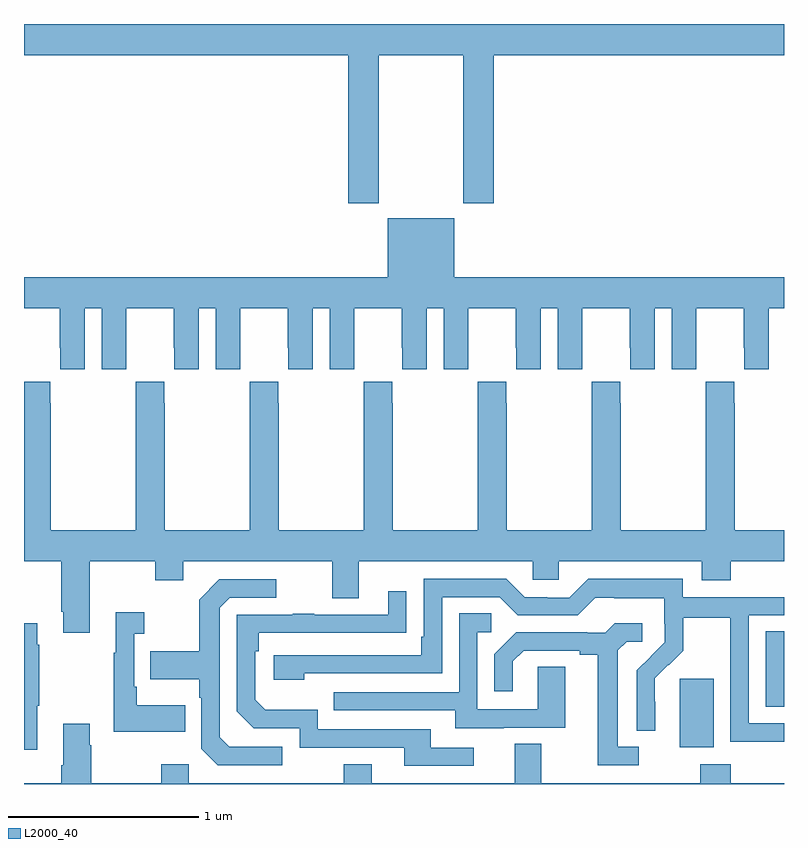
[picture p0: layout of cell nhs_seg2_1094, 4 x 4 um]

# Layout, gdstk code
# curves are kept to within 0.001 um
import gdstk
lib = gdstk.Library(unit=1e-6, precision=1e-09)
def R(c, l, rs):  # rectangles x0, y0, x1, y1
    for r in rs: c.add(gdstk.rectangle(r[:2], r[2:], *l))
def P(c, l, *ps):  # polygons
    for p in ps: c.add(gdstk.Polygon(p, *l))
L2000_40 = (2000, 40)

nhs_seg2_1094 = lib.new_cell('nhs_seg2_1094')
R(nhs_seg2_1094, L2000_40, [(170.45,643.994,170.629,644.355), (170.903,644.206,171,644.603)])
P(nhs_seg2_1094, L2000_40, [(168.867,647.636),(169.312,647.636),(169.312,646.857),(169.472,646.857),(169.472,647.636),(171,647.636),(171,647.8),(167,647.8),(167,647.636),(168.707,647.636),(168.707,646.857),(168.867,646.857)],
  [(167,646.304),(167.189,646.304),(167.189,646.096),(167.19,646.096),(167.19,645.984),(167.32,645.984),(167.32,646.304),(167.408,646.304),(167.408,645.984),(167.538,645.984),(167.538,646.096),(167.539,646.096),(167.539,646.304),(167.789,646.304),(167.789,646.096),(167.79,646.096),(167.79,645.984),(167.92,645.984),(167.92,646.304),(168.008,646.304),(168.008,645.984),(168.138,645.984),(168.138,646.096),(168.139,646.096),(168.139,646.304),(168.389,646.304),(168.389,646.096),(168.39,646.096),(168.39,645.984),(168.52,645.984),(168.52,646.304),(168.608,646.304),(168.608,645.984),(168.738,645.984),(168.738,646.096),(168.739,646.096),(168.739,646.304),(168.989,646.304),(168.989,646.096),(168.99,646.096),(168.99,645.984),(169.12,645.984),(169.12,646.304),(169.208,646.304),(169.208,645.984),(169.338,645.984),(169.338,646.096),(169.339,646.096),(169.339,646.304),(169.589,646.304),(169.589,646.096),(169.59,646.096),(169.59,645.984),(169.72,645.984),(169.72,646.304),(169.808,646.304),(169.808,645.984),(169.938,645.984),(169.938,646.096),(169.939,646.096),(169.939,646.304),(170.189,646.304),(170.189,646.096),(170.19,646.096),(170.19,645.984),(170.32,645.984),(170.32,646.304),(170.408,646.304),(170.408,645.984),(170.538,645.984),(170.538,646.096),(170.539,646.096),(170.539,646.304),(170.789,646.304),(170.789,646.096),(170.79,646.096),(170.79,645.984),(170.92,645.984),(170.92,646.304),(171,646.304),(171,646.468),(169.264,646.468),(169.264,646.777),(168.914,646.777),(168.914,646.468),(167,646.468)],
  [(170.739,645.803),(170.739,645.916),(170.589,645.916),(170.589,645.803),(170.587,645.803),(170.587,645.136),(170.142,645.136),(170.142,645.803),(170.139,645.803),(170.139,645.916),(169.989,645.916),(169.989,645.803),(169.987,645.803),(169.987,645.136),(169.542,645.136),(169.542,645.803),(169.539,645.803),(169.539,645.916),(169.389,645.916),(169.389,645.803),(169.387,645.803),(169.387,645.136),(168.942,645.136),(168.942,645.803),(168.939,645.803),(168.939,645.916),(168.789,645.916),(168.789,645.803),(168.787,645.803),(168.787,645.136),(168.342,645.136),(168.342,645.803),(168.339,645.803),(168.339,645.916),(168.189,645.916),(168.189,645.803),(168.187,645.803),(168.187,645.136),(167.742,645.136),(167.742,645.803),(167.739,645.803),(167.739,645.916),(167.589,645.916),(167.589,645.803),(167.587,645.803),(167.587,645.136),(167.142,645.136),(167.142,645.803),(167.139,645.803),(167.139,645.916),(167,645.916),(167,644.972),(167.195,644.972),(167.195,644.707),(167.207,644.707),(167.207,644.595),(167.347,644.595),(167.347,644.972),(167.692,644.972),(167.692,644.873),(167.839,644.873),(167.839,644.972),(168.623,644.972),(168.623,644.778),(168.763,644.778),(168.763,644.972),(169.677,644.972),(169.677,644.874),(169.815,644.874),(169.815,644.972),(170.567,644.972),(170.567,644.873),(170.72,644.873),(170.72,644.972),(171,644.972),(171,645.136),(170.742,645.136),(170.742,645.803)],
  [(171,644.121),(170.814,644.121),(170.814,644.688),(171,644.688),(171,644.784),(170.466,644.784),(170.466,644.881),(169.969,644.881),(169.869,644.781),(169.754,644.781),(169.754,644.784),(169.635,644.784),(169.539,644.88),(169.104,644.88),(169.104,644.575),(169.091,644.575),(169.091,644.478),(168.315,644.478),(168.315,644.348),(168.476,644.348),(168.476,644.382),(169.2,644.382),(169.2,644.784),(169.503,644.784),(169.599,644.688),(169.914,644.688),(170.007,644.781),(170.107,644.781),(170.107,644.777),(170.37,644.777),(170.37,644.643),(170.372,644.643),(170.372,644.546),(170.226,644.398),(170.226,644.08),(170.322,644.08),(170.321,644.357),(170.391,644.427),(170.394,644.424),(170.471,644.501),(170.471,644.676),(170.716,644.676),(170.716,644.452),(170.718,644.452),(170.718,644.023),(171,644.023)],
  [(168.358,643.995),(168.081,643.995),(168.03,644.046),(168.03,644.727),(168.084,644.781),(168.328,644.781),(168.328,644.877),(168.027,644.877),(167.922,644.771),(167.922,644.499),(167.665,644.499),(167.665,644.351),(167.922,644.351),(167.922,644.255),(167.934,644.255),(167.934,643.986),(168.021,643.899),(168.358,643.899)],
  [(169.366,643.992),(169.141,643.992),(169.141,644.088),(168.546,644.088),(168.546,644.191),(168.269,644.191),(168.216,644.244),(168.216,644.498),(168.236,644.498),(168.236,644.595),(169.013,644.596),(169.013,644.815),(168.917,644.815),(168.917,644.691),(168.527,644.691),(168.527,644.696),(168.415,644.696),(168.415,644.691),(168.12,644.691),(168.12,644.184),(168.21,644.094),(168.45,644.094),(168.45,643.992),(169.001,643.992),(169.001,643.896),(169.366,643.896)],
  [(167.849,644.215),(167.593,644.215),(167.593,644.311),(167.58,644.311),(167.58,644.591),(167.632,644.591),(167.632,644.704),(167.483,644.704),(167.483,644.491),(167.472,644.491),(167.472,644.075),(167.849,644.075)],
  [(169.525,644.097),(169.849,644.097),(169.849,644.417),(169.704,644.417),(169.704,644.193),(169.386,644.193),(169.386,644.598),(169.459,644.598),(169.459,644.699),(169.29,644.699),(169.29,644.283),(168.631,644.283),(168.631,644.187),(169.271,644.187),(169.271,644.093),(169.525,644.093)],
  [(170.236,643.995),(170.125,643.995),(170.125,644.503),(170.172,644.55),(170.254,644.55),(170.254,644.647),(170.11,644.647),(170.058,644.595),(169.964,644.595),(169.964,644.598),(169.592,644.598),(169.476,644.482),(169.476,644.289),(169.573,644.289),(169.573,644.445),(169.63,644.502),(169.925,644.502),(169.925,644.48),(170.021,644.48),(170.021,643.899),(170.236,643.899)],
  [(167.071,644.211),(167.079,644.211),(167.079,644.534),(167.071,644.534),(167.071,644.647),(167,644.647),(167,643.98),(167.071,643.98)],
  [(171,643.804),(170.72,643.804),(170.72,643.903),(170.56,643.903),(170.56,643.804),(169.723,643.804),(169.723,644.012),(169.583,644.012),(169.583,643.804),(168.829,643.804),(168.829,643.903),(168.682,643.903),(168.682,643.804),(167.868,643.804),(167.868,643.903),(167.722,643.903),(167.722,643.804),(167.355,643.804),(167.355,644.003),(167.347,644.003),(167.347,644.116),(167.207,644.116),(167.207,643.9),(167.195,643.9),(167.195,643.804),(167,643.804),(167,643.8),(171,643.8)])

lib.write_gds('nhs_seg2_1094.gds')
